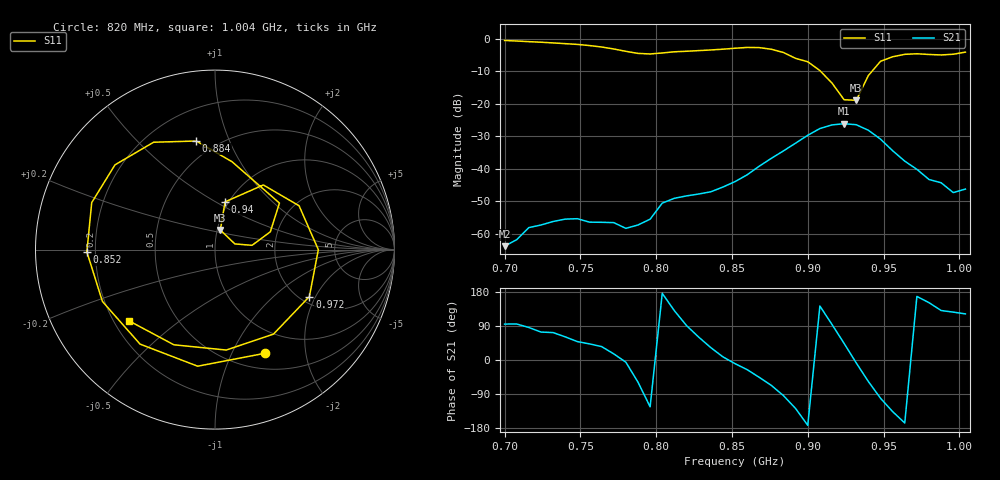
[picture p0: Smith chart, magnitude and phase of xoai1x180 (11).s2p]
# Hz S RI R 50
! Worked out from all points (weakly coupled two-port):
!   39 points, 700 MHz to 1.004 GHz, reference 50 ohm
!   highest |S21| = -26.14 dB at 924 MHz (marker M1); lowest = -63.8 dB at 700 MHz (marker M2)
!   lowest |S11| = -18.9 dB at 932 MHz (marker M3), VSWR 1.25, Z = 51.8 + j11.4 ohm
!   |S11| at or under -10 dB: 908.4 MHz to 942.4 MHz (33.98 MHz wide, 3.67 % of centre)
!   S12 and S22 are empty: the file has one direction only
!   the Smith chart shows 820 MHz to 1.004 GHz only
!   S11 on the Smith chart (normalised r, x): 820 MHz: 0.69, -1.36; 852 MHz: 0.17, -0.01; 884 MHz: 0.39, +0.76; 940 MHz: 0.96, +0.55; 972 MHz: 2.23, -1.78; 1.004 GHz: 0.26, -0.34
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7e8  0.7637 0.5499  -5.4e-05 0.000642  0 0  0 0
7.24e8  0.8475 -0.251  0.000381 0.00131  0 0  0 0
7.4e8  0.4597 -0.7033  0.000812 0.00147  0 0  0 0
7.56e8  -0.1919 -0.7617  0.00111 0.00102  0 0  0 0
7.72e8  -0.6675 -0.1975  0.00142 0.000414  0 0  0 0
7.8e8  -0.5994 0.2252  0.0012 -0.000122  0 0  0 0
7.96e8  0.2397 0.5318  -0.000925 -0.0014  0 0  0 0
8.04e8  0.5758 0.1823  -0.00295 0.000215  0 0  0 0
8.2e8  0.2813 -0.5771  -6.29e-05 0.00382  0 0  0 0
8.36e8  -0.4174 -0.5266  0.00371 0.00239  0 0  0 0
8.52e8  -0.7139 -0.0129  0.00625 -0.00106  0 0  0 0
8.68e8  -0.5573 0.4722  0.00764 -0.00784  0 0  0 0
8.84e8  -0.1042 0.6049  -0.00136 -0.0188  0 0  0 0
9e8  0.359 0.2592  -0.0324 -0.00426  0 0  0 0
9.08e8  0.3083 0.0991  -0.0329 0.0253  0 0  0 0
9.24e8  0.1108 0.0316  0.0357 0.0341  0 0  0 0
9.32e8  0.0299 0.1091  0.0471 -0.00646  0 0  0 0
9.4e8  0.0561 0.266  0.0214 -0.0327  0 0  0 0
9.56e8  0.4685 0.2443  -0.0137 -0.0131  0 0  0 0
9.72e8  0.5259 -0.2615  -0.00957 0.00207  0 0  0 0
9.88e8  0.0628 -0.5596  -0.00396 0.00462  0 0  0 0
1.004e9  -0.4798 -0.3965  -0.00256 0.00414  0 0  0 0
